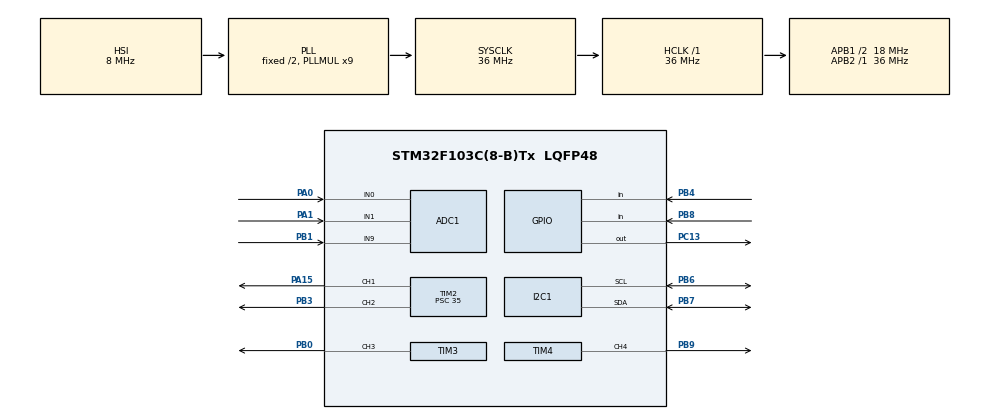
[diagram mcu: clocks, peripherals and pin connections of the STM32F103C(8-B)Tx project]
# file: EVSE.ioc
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ADC1.Channel-0\#ChannelRegularConversion=ADC_CHANNEL_0
ADC1.ContinuousConvMode=DISABLE
ADC1.NbrOfConversionFlag=1
ADC1.Rank-0\#ChannelRegularConversion=1
ADC1.SamplingTime-0\#ChannelRegularConversion=ADC_SAMPLETIME_1CYCLE_5
ADC1.master=1
Mcu.Family=STM32F1
Mcu.Name=STM32F103C(8-B)Tx
Mcu.Package=LQFP48
NVIC.PriorityGroup=NVIC_PRIORITYGROUP_4
PA0-WKUP.Signal=ADCx_IN0
PA1.Signal=ADCx_IN1
PA13.Mode=Serial_Wire
PA13.Signal=SYS_JTMS-SWDIO
PA14.Mode=Serial_Wire
PA14.Signal=SYS_JTCK-SWCLK
PA15.Signal=S_TIM2_CH1_ETR
PB0.Signal=S_TIM3_CH3
PB1.Signal=ADCx_IN9
PB3.Signal=S_TIM2_CH2
PB4.Signal=GPIO_Input
PB6.Mode=I2C
PB6.Signal=I2C1_SCL
PB7.Mode=I2C
PB7.Signal=I2C1_SDA
PB8.GPIO_PuPd=GPIO_PULLUP
PB8.Signal=GPIO_Input
PB9.Signal=S_TIM4_CH4
PC13-TAMPER-RTC.Signal=GPIO_Output
PD0-OSC_IN.Mode=HSE-External-Oscillator
PD0-OSC_IN.Signal=RCC_OSC_IN
PD1-OSC_OUT.Mode=HSE-External-Oscillator
PD1-OSC_OUT.Signal=RCC_OSC_OUT
ProjectManager.HeapSize=0x200
ProjectManager.StackSize=0x400
ProjectManager.TargetToolchain=MDK-ARM V5.32
RCC.ADCPresc=RCC_ADCPCLK2_DIV4
RCC.AHBFreq_Value=36000000
RCC.APB1CLKDivider=RCC_HCLK_DIV2
RCC.APB1Freq_Value=18000000
RCC.APB1TimFreq_Value=36000000
RCC.APB2Freq_Value=36000000
RCC.APB2TimFreq_Value=36000000
RCC.HCLKFreq_Value=36000000
RCC.PLLMUL=RCC_PLL_MUL9
RCC.SYSCLKFreq_VALUE=36000000
RCC.SYSCLKSource=RCC_SYSCLKSOURCE_PLLCLK
RCC.USBFreq_Value=36000000
SH.ADCx_IN0.0=ADC1_IN0,IN0
SH.ADCx_IN1.0=ADC1_IN1,IN1
SH.ADCx_IN9.0=ADC1_IN9,IN9
SH.S_TIM2_CH1_ETR.0=TIM2_CH1,PWM Generation1 CH1
SH.S_TIM2_CH2.0=TIM2_CH2,PWM Generation2 CH2
SH.S_TIM3_CH3.0=TIM3_CH3,PWM Generation3 CH3
SH.S_TIM4_CH4.0=TIM4_CH4,PWM Generation4 CH4
TIM2.AutoReloadPreload=TIM_AUTORELOAD_PRELOAD_ENABLE
TIM2.Channel-PWM\ Generation1\ CH1=TIM_CHANNEL_1
TIM2.Channel-PWM\ Generation2\ CH2=TIM_CHANNEL_2
TIM2.Period=999
TIM2.Prescaler=35
TIM3.AutoReloadPreload=TIM_AUTORELOAD_PRELOAD_ENABLE
TIM3.Channel-PWM\ Generation3\ CH3=TIM_CHANNEL_3
TIM3.Period=999
TIM3.Prescaler=35
TIM4.AutoReloadPreload=TIM_AUTORELOAD_PRELOAD_ENABLE
TIM4.Channel-PWM\ Generation4\ CH4=TIM_CHANNEL_4
TIM4.Period=999
TIM4.Prescaler=35
VP_TIM2_VS_ClockSourceINT.Mode=Internal
VP_TIM4_VS_ClockSourceINT.Mode=Internal
board=custom

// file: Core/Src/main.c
/* USER CODE BEGIN Header */
/**
  ******************************************************************************
  * @file           : main.c
  * @brief          : Main program body
  ******************************************************************************
  * @attention
  *
  * Copyright (c) 2024 STMicroelectronics.
  * All rights reserved.
  *
  * This software is licensed under terms that can be found in the LICENSE file
  * in the root directory of this software component.
  * If no LICENSE file comes with this software, it is provided AS-IS.
  *
  ******************************************************************************
  */
/* USER CODE END Header */
#include "main.h"

/* USER CODE BEGIN Includes */
#include "stdio.h"
#include "i2c-lcd.h"
#include <math.h>
//44#include "i2c-lcd.h"
/* USER CODE END Includes */

/* USER CODE BEGIN PD */
char a[2], b[2];
/* USER CODE END PD */

ADC_HandleTypeDef hadc1;

I2C_HandleTypeDef hi2c1;

TIM_HandleTypeDef htim2;
TIM_HandleTypeDef htim3;
TIM_HandleTypeDef htim4;

/* USER CODE BEGIN PV */
uint32_t ADC_0, ADC_1, tong_0, tong_1, Ampe1, y;
uint8_t dem = 0, i, c, Ampe_max , state = 0;
float Ampe, ADC_9, tong_2, Duty_Cycle, Voltage, Ampe2, Ampe3, giatria9, sum=0, caonhat, caonhat1=0;
uint8_t value = 0; // Bi?n luu gi� tr? 0 ho?c 1
uint8_t truoc = 0; // Tr?ng th�i n�t tru?c d� (1 v� n�t pull-up)
uint8_t hientai; // Tr?ng th�i n�t hi?n t?i
/* USER CODE END PV */

void SystemClock_Config(void);
static void MX_GPIO_Init(void);
static void MX_ADC1_Init(void);
static void MX_TIM2_Init(void);
static void MX_TIM3_Init(void);
static void MX_TIM4_Init(void);
static void MX_I2C1_Init(void);

/* USER CODE BEGIN 0 */
void ADC_Select_CH0(){
  ADC_ChannelConfTypeDef sConfig = {0};
	sConfig.Channel = ADC_CHANNEL_0;
  sConfig.Rank = ADC_REGULAR_RANK_1;
  sConfig.SamplingTime = ADC_SAMPLETIME_1CYCLE_5;
  if (HAL_ADC_ConfigChannel(&hadc1, &sConfig) != HAL_OK)Error_Handler();
}
void ADC_Select_CH1(){
  ADC_ChannelConfTypeDef sConfig = {0};
	sConfig.Channel = ADC_CHANNEL_1;
  sConfig.Rank = ADC_REGULAR_RANK_1;
  sConfig.SamplingTime = ADC_SAMPLETIME_1CYCLE_5;
  if (HAL_ADC_ConfigChannel(&hadc1, &sConfig) != HAL_OK)Error_Handler();
}
void ADC_Select_CH9(){
  ADC_ChannelConfTypeDef sConfig = {0};
	sConfig.Channel = ADC_CHANNEL_9;
  sConfig.Rank = ADC_REGULAR_RANK_1;
  sConfig.SamplingTime = ADC_SAMPLETIME_1CYCLE_5;
  if (HAL_ADC_ConfigChannel(&hadc1, &sConfig) != HAL_OK)Error_Handler();
}
/* USER CODE END 0 */

int main(void)
{

  /* MCU Configuration--------------------------------------------------------*/

  /* Reset of all peripherals, Initializes the Flash interface and the Systick. */
  HAL_Init();

  /* Configure the system clock */
  SystemClock_Config();

  /* Initialize all configured peripherals */
  MX_GPIO_Init();
  MX_ADC1_Init();
  MX_TIM2_Init();
  MX_TIM3_Init();
  MX_TIM4_Init();
  MX_I2C1_Init();
  /* USER CODE BEGIN 2 */
  HAL_TIM_PWM_Start(&htim3, TIM_CHANNEL_3); //relay xung
  HAL_TIM_PWM_Start(&htim2, TIM_CHANNEL_1); //relay che do sac
  HAL_TIM_PWM_Start(&htim2, TIM_CHANNEL_2);	//relay sac
	HAL_TIM_PWM_Start(&htim4, TIM_CHANNEL_4); //dieu chinh do rong xung-Duty cycle
	lcd_init();
  /* USER CODE END 2 */

  /* Infinite loop */
  /* USER CODE BEGIN WHILE */
  while (1)
  {
		truoc= hientai;
		hientai= HAL_GPIO_ReadPin (GPIOB, GPIO_PIN_4);
		if (truoc==1 && hientai==0)
		{
			value= 1 - value;
		}
			if (value == 1)
			{ __HAL_TIM_SET_COMPARE(&htim2,TIM_CHANNEL_1,999);
}
			else if (value == 0)
			{ __HAL_TIM_SET_COMPARE(&htim2,TIM_CHANNEL_1,0);
}
			//------------------------------------------------------LCD----------------------------------------------------------------------------------------------
			     lcd_clear();
					  lcd_put_cur( 0, 0);
						if (value == 1)
						{
						lcd_send_string("AC CHARGING");
						}
						else if(value == 0)
						{
						lcd_send_string("DC CHARGING");
            }

    if((GPIOB->IDR & GPIO_PIN_8)==0){dem++; if(dem>1)dem=0;}
		if(ADC_1>1000 && ADC_1<4050)
		{
      if(ADC_1>3210 && ADC_1<4050)Ampe_max = 20;
			else if(ADC_1>1920 && ADC_1<3210)Ampe_max = 32;
			else if(ADC_1>1180 && ADC_1<1920)Ampe_max = 63;
			else Ampe_max = 0;
			if(dem == 0)
			{
				if(Voltage>1 && Voltage<7 && state==0)
				{
		  	  __HAL_TIM_SET_COMPARE(&htim3,TIM_CHANNEL_3,999);
		  	  __HAL_TIM_SET_COMPARE(&htim2,TIM_CHANNEL_2,999);
		  		HAL_GPIO_WritePin(GPIOC,GPIO_PIN_13,GPIO_PIN_RESET);

					//LCD
						lcd_clear();
						lcd_put_cur( 1, 0);
						lcd_send_string("CURRENT:");
						lcd_put_cur(1, 13);
						lcd_send_string("A");
						sprintf(a,"%d",Ampe1);
						lcd_put_cur(1,10);
						lcd_send_string(a);

		  		if(Ampe>0 && Ampe<6)
					{
						c=0;
						state=0;
		  		  __HAL_TIM_SET_COMPARE(&htim4,TIM_CHANNEL_4, Duty_Cycle=89);//9%
			  	}else if(Ampe>=6 && Ampe<=51){
						c=0;
						state=0;
			  	  __HAL_TIM_SET_COMPARE(&htim4,TIM_CHANNEL_4, Duty_Cycle=(Ampe/0.6)*10-1);
			  	}else if(Ampe>51 && Ampe<=80){
						c=0;
						state=0;
				    __HAL_TIM_SET_COMPARE(&htim4,TIM_CHANNEL_4, Duty_Cycle=(Ampe/2.5+64)*10-1);
		      }else if(Ampe>80 || dem==1){
						state=1;
						dem=0;
		        __HAL_TIM_SET_COMPARE(&htim4,TIM_CHANNEL_4,  Duty_Cycle=979);//98%
			 	  	__HAL_TIM_SET_COMPARE(&htim2,TIM_CHANNEL_2,0);
						HAL_GPIO_WritePin(GPIOC,GPIO_PIN_13,GPIO_PIN_SET);
						HAL_Delay(500);
					}else if(Ampe==0){
					  c++;
						HAL_Delay(100);
						if(c>30)
						{
						  c=0;
							__HAL_TIM_SET_COMPARE(&htim4,TIM_CHANNEL_4, Duty_Cycle = 9);//1%
				   		__HAL_TIM_SET_COMPARE(&htim2,TIM_CHANNEL_2,0);
				   		HAL_GPIO_WritePin(GPIOC,GPIO_PIN_13,GPIO_PIN_SET);
						}
					}
					if(Ampe>Ampe_max+2)
					{
						c=0;
						state=1;
						__HAL_TIM_SET_COMPARE(&htim2,TIM_CHANNEL_2,0);
						HAL_GPIO_WritePin(GPIOC,GPIO_PIN_13,GPIO_PIN_SET);
					}
		  	}else if(state==1 || (Voltage>7 && Voltage<10 && state==0)){
				  state=0;

					//LCD
					lcd_clear();
					lcd_put_cur(0, 0);
					lcd_send_string("CONNECTED");

					__HAL_TIM_SET_COMPARE(&htim3,TIM_CHANNEL_3,999);
		  	  __HAL_TIM_SET_COMPARE(&htim2,TIM_CHANNEL_2,0);
					__HAL_TIM_SET_COMPARE(&htim4,TIM_CHANNEL_4, Duty_Cycle = 49);//5%
		  		HAL_GPIO_WritePin(GPIOC,GPIO_PIN_13,GPIO_PIN_SET);
					c++;
					HAL_Delay(100);
					if(c>30)
					{
					  c=0;
						__HAL_TIM_SET_COMPARE(&htim4,TIM_CHANNEL_4, Duty_Cycle = 9);//1%
					}
				}

		  }else if(dem==1){
				dem=0;
			  state=1;

				//LCD
					lcd_clear();
					lcd_put_cur(0, 0);
					lcd_send_string("CONNECTED");

				__HAL_TIM_SET_COMPARE(&htim4,TIM_CHANNEL_4, Duty_Cycle = 979);//98%
				__HAL_TIM_SET_COMPARE(&htim2,TIM_CHANNEL_2,0);
				HAL_GPIO_WritePin(GPIOC,GPIO_PIN_13,GPIO_PIN_SET);
				HAL_Delay(500);
			}
    }else{
			Ampe_max=0;
			__HAL_TIM_SET_COMPARE(&htim4,TIM_CHANNEL_4, Duty_Cycle = 979);
      __HAL_TIM_SET_COMPARE(&htim2,TIM_CHANNEL_2,0);
      __HAL_TIM_SET_COMPARE(&htim3,TIM_CHANNEL_3,0);
      HAL_GPIO_WritePin(GPIOC,GPIO_PIN_13,GPIO_PIN_SET);
			if(dem==1)dem=0;
	  }
    HAL_Delay(100);
		//--------------------------------------------------lay gia tri ADC---------------------------------------------------------------------------------
		for(i=0;i<10;i++)
		{
			ADC_Select_CH0();
			HAL_ADC_Start(&hadc1);
			HAL_ADC_PollForConversion(&hadc1,100);
			tong_0+=HAL_ADC_GetValue(&hadc1);
			HAL_ADC_Stop(&hadc1);

			ADC_Select_CH1();
			HAL_ADC_Start(&hadc1);
			HAL_ADC_PollForConversion(&hadc1,100);
			tong_1+=HAL_ADC_GetValue(&hadc1);
			HAL_ADC_Stop(&hadc1);

			//ADC_Select_CH9();
			//HAL_ADC_Start(&hadc1);
			//HAL_ADC_PollForConversion(&hadc1,100);
			//tong_2+=HAL_ADC_GetValue(&hadc1);
			//HAL_ADC_Stop(&hadc1);
		}
    ADC_0=(tong_0/i);
		ADC_1=(tong_1/i);
		//ADC_9=(tong_2/i);
		tong_0=0;
		tong_1=0;
		//tong_2=0;

		//----------------------------------------dien ap xac nhan cac trang thai sac--------------------------------------------------------------------------------------------
		Voltage=(ADC_0*3.4*1000*(800+330))/((Duty_Cycle+1)*4095*330);//800 va 330 l� 2 dien tro ph�n �p sau Opamp;

		//--------------------------------do Ampe khi su dung bien tro 5kohm lam dong dien gia---------------------------------------------------------------------------------
		//Ampe=ADC_9*100/4095; //0-100 Ampe
		//----------------------------------do Ampe khi su dung WCS1700 do dong dien sac-----------------------------------------------------------------------------------
		{
			ADC_Select_CH9();
			HAL_ADC_Start(&hadc1);
			HAL_ADC_PollForConversion(&hadc1,100);
			caonhat = HAL_ADC_GetValue(&hadc1);
			if (caonhat > caonhat1)
			{
				caonhat1 = caonhat;
			}
			sum += caonhat1;
			HAL_ADC_Stop(&hadc1);
			HAL_Delay(1);
		}
		tong_2 = sum/y;
		Ampe2 = ((tong_2*3.3/4095)-2.42967033);
		Ampe  = sqrtf((Ampe2/0.066)*(Ampe2/0.066));
		sum = 0;
		caonhat = 0;
		caonhat1 = 0;

		//----------------------------------------------------------------------------------------------------------------------------------------------------
    /* USER CODE END WHILE */

  }
}

void SystemClock_Config(void)
{
  RCC_OscInitTypeDef RCC_OscInitStruct = {0};
  RCC_ClkInitTypeDef RCC_ClkInitStruct = {0};
  RCC_PeriphCLKInitTypeDef PeriphClkInit = {0};

  /** Initializes the RCC Oscillators according to the specified parameters
  * in the RCC_OscInitTypeDef structure.
  */
  RCC_OscInitStruct.OscillatorType = RCC_OSCILLATORTYPE_HSI;
  RCC_OscInitStruct.HSIState = RCC_HSI_ON;
  RCC_OscInitStruct.HSICalibrationValue = RCC_HSICALIBRATION_DEFAULT;
  RCC_OscInitStruct.PLL.PLLState = RCC_PLL_ON;
  RCC_OscInitStruct.PLL.PLLSource = RCC_PLLSOURCE_HSI_DIV2;
  RCC_OscInitStruct.PLL.PLLMUL = RCC_PLL_MUL9;
  if (HAL_RCC_OscConfig(&RCC_OscInitStruct) != HAL_OK)
  {
    Error_Handler();
  }

  /** Initializes the CPU, AHB and APB buses clocks
  */
  RCC_ClkInitStruct.ClockType = RCC_CLOCKTYPE_HCLK|RCC_CLOCKTYPE_SYSCLK
                              |RCC_CLOCKTYPE_PCLK1|RCC_CLOCKTYPE_PCLK2;
  RCC_ClkInitStruct.SYSCLKSource = RCC_SYSCLKSOURCE_PLLCLK;
  RCC_ClkInitStruct.AHBCLKDivider = RCC_SYSCLK_DIV1;
  RCC_ClkInitStruct.APB1CLKDivider = RCC_HCLK_DIV2;
  RCC_ClkInitStruct.APB2CLKDivider = RCC_HCLK_DIV1;

  if (HAL_RCC_ClockConfig(&RCC_ClkInitStruct, FLASH_LATENCY_1) != HAL_OK)
  {
    Error_Handler();
  }
  PeriphClkInit.PeriphClockSelection = RCC_PERIPHCLK_ADC;
  PeriphClkInit.AdcClockSelection = RCC_ADCPCLK2_DIV4;
  if (HAL_RCCEx_PeriphCLKConfig(&PeriphClkInit) != HAL_OK)
  {
    Error_Handler();
  }
}

static void MX_ADC1_Init(void)
{

  ADC_ChannelConfTypeDef sConfig = {0};

  /** Common config
  */
  hadc1.Instance = ADC1;
  hadc1.Init.ScanConvMode = ADC_SCAN_DISABLE;
  hadc1.Init.ContinuousConvMode = DISABLE;
  hadc1.Init.DiscontinuousConvMode = DISABLE;
  hadc1.Init.ExternalTrigConv = ADC_SOFTWARE_START;
  hadc1.Init.DataAlign = ADC_DATAALIGN_RIGHT;
  hadc1.Init.NbrOfConversion = 1;
  if (HAL_ADC_Init(&hadc1) != HAL_OK)
  {
    Error_Handler();
  }

  /** Configure Regular Channel
  */
  sConfig.Channel = ADC_CHANNEL_0;
  sConfig.Rank = ADC_REGULAR_RANK_1;
  sConfig.SamplingTime = ADC_SAMPLETIME_1CYCLE_5;
  if (HAL_ADC_ConfigChannel(&hadc1, &sConfig) != HAL_OK)
  {
    Error_Handler();
  }

}

static void MX_I2C1_Init(void)
{

  hi2c1.Instance = I2C1;
  hi2c1.Init.ClockSpeed = 100000;
  hi2c1.Init.DutyCycle = I2C_DUTYCYCLE_2;
  hi2c1.Init.OwnAddress1 = 0;
  hi2c1.Init.AddressingMode = I2C_ADDRESSINGMODE_7BIT;
  hi2c1.Init.DualAddressMode = I2C_DUALADDRESS_DISABLE;
  hi2c1.Init.OwnAddress2 = 0;
  hi2c1.Init.GeneralCallMode = I2C_GENERALCALL_DISABLE;
  hi2c1.Init.NoStretchMode = I2C_NOSTRETCH_DISABLE;
  if (HAL_I2C_Init(&hi2c1) != HAL_OK)
  {
    Error_Handler();
  }

}

static void MX_TIM2_Init(void)
{

  TIM_ClockConfigTypeDef sClockSourceConfig = {0};
  TIM_MasterConfigTypeDef sMasterConfig = {0};
  TIM_OC_InitTypeDef sConfigOC = {0};

  htim2.Instance = TIM2;
  htim2.Init.Prescaler = 35;
  htim2.Init.CounterMode = TIM_COUNTERMODE_UP;
  htim2.Init.Period = 999;
  htim2.Init.ClockDivision = TIM_CLOCKDIVISION_DIV1;
  htim2.Init.AutoReloadPreload = TIM_AUTORELOAD_PRELOAD_ENABLE;
  if (HAL_TIM_Base_Init(&htim2) != HAL_OK)
  {
    Error_Handler();
  }
  sClockSourceConfig.ClockSource = TIM_CLOCKSOURCE_INTERNAL;
  if (HAL_TIM_ConfigClockSource(&htim2, &sClockSourceConfig) != HAL_OK)
  {
    Error_Handler();
  }
  if (HAL_TIM_PWM_Init(&htim2) != HAL_OK)
  {
    Error_Handler();
  }
  sMasterConfig.MasterOutputTrigger = TIM_TRGO_RESET;
  sMasterConfig.MasterSlaveMode = TIM_MASTERSLAVEMODE_DISABLE;
  if (HAL_TIMEx_MasterConfigSynchronization(&htim2, &sMasterConfig) != HAL_OK)
  {
    Error_Handler();
  }
  sConfigOC.OCMode = TIM_OCMODE_PWM1;
  sConfigOC.Pulse = 0;
  sConfigOC.OCPolarity = TIM_OCPOLARITY_HIGH;
  sConfigOC.OCFastMode = TIM_OCFAST_DISABLE;
  if (HAL_TIM_PWM_ConfigChannel(&htim2, &sConfigOC, TIM_CHANNEL_1) != HAL_OK)
  {
    Error_Handler();
  }
  if (HAL_TIM_PWM_ConfigChannel(&htim2, &sConfigOC, TIM_CHANNEL_2) != HAL_OK)
  {
    Error_Handler();
  }
  HAL_TIM_MspPostInit(&htim2);

}

static void MX_TIM3_Init(void)
{

  /* USER CODE BEGIN TIM3_Init 0 */
  TIM_ClockConfigTypeDef sClockSourceConfig = {0};
  /* USER CODE END TIM3_Init 0 */

  TIM_MasterConfigTypeDef sMasterConfig = {0};
  TIM_OC_InitTypeDef sConfigOC = {0};

  htim3.Instance = TIM3;
  htim3.Init.Prescaler = 35;
  htim3.Init.CounterMode = TIM_COUNTERMODE_UP;
  htim3.Init.Period = 999;
  htim3.Init.ClockDivision = TIM_CLOCKDIVISION_DIV1;
  htim3.Init.AutoReloadPreload = TIM_AUTORELOAD_PRELOAD_ENABLE;
  if (HAL_TIM_PWM_Init(&htim3) != HAL_OK)
  {
    Error_Handler();
  }
  sMasterConfig.MasterOutputTrigger = TIM_TRGO_RESET;
  sMasterConfig.MasterSlaveMode = TIM_MASTERSLAVEMODE_DISABLE;
  if (HAL_TIMEx_MasterConfigSynchronization(&htim3, &sMasterConfig) != HAL_OK)
  {
    Error_Handler();
  }
  sConfigOC.OCMode = TIM_OCMODE_PWM1;
  sConfigOC.Pulse = 0;
  sConfigOC.OCPolarity = TIM_OCPOLARITY_HIGH;
  sConfigOC.OCFastMode = TIM_OCFAST_DISABLE;
  if (HAL_TIM_PWM_ConfigChannel(&htim3, &sConfigOC, TIM_CHANNEL_3) != HAL_OK)
  {
    Error_Handler();
  }
  HAL_TIM_MspPostInit(&htim3);

}

static void MX_TIM4_Init(void)
{

  TIM_ClockConfigTypeDef sClockSourceConfig = {0};
  TIM_MasterConfigTypeDef sMasterConfig = {0};
  TIM_OC_InitTypeDef sConfigOC = {0};

  htim4.Instance = TIM4;
  htim4.Init.Prescaler = 35;
  htim4.Init.CounterMode = TIM_COUNTERMODE_UP;
  htim4.Init.Period = 999;
  htim4.Init.ClockDivision = TIM_CLOCKDIVISION_DIV1;
  htim4.Init.AutoReloadPreload = TIM_AUTORELOAD_PRELOAD_ENABLE;
  if (HAL_TIM_Base_Init(&htim4) != HAL_OK)
  {
    Error_Handler();
  }
  sClockSourceConfig.ClockSource = TIM_CLOCKSOURCE_INTERNAL;
  if (HAL_TIM_ConfigClockSource(&htim4, &sClockSourceConfig) != HAL_OK)
  {
    Error_Handler();
  }
  if (HAL_TIM_PWM_Init(&htim4) != HAL_OK)
  {
    Error_Handler();
  }
  sMasterConfig.MasterOutputTrigger = TIM_TRGO_RESET;
  sMasterConfig.MasterSlaveMode = TIM_MASTERSLAVEMODE_DISABLE;
  if (HAL_TIMEx_MasterConfigSynchronization(&htim4, &sMasterConfig) != HAL_OK)
  {
    Error_Handler();
  }
  sConfigOC.OCMode = TIM_OCMODE_PWM1;
  sConfigOC.Pulse = 0;
  sConfigOC.OCPolarity = TIM_OCPOLARITY_HIGH;
  sConfigOC.OCFastMode = TIM_OCFAST_DISABLE;
  if (HAL_TIM_PWM_ConfigChannel(&htim4, &sConfigOC, TIM_CHANNEL_4) != HAL_OK)
  {
    Error_Handler();
  }
  HAL_TIM_MspPostInit(&htim4);

}

static void MX_GPIO_Init(void)
{
  GPIO_InitTypeDef GPIO_InitStruct = {0};

  /* GPIO Ports Clock Enable */
  __HAL_RCC_GPIOC_CLK_ENABLE();
  __HAL_RCC_GPIOD_CLK_ENABLE();
  __HAL_RCC_GPIOA_CLK_ENABLE();
  __HAL_RCC_GPIOB_CLK_ENABLE();

  /*Configure GPIO pin Output Level */
  HAL_GPIO_WritePin(GPIOC, GPIO_PIN_13, GPIO_PIN_RESET);

  /*Configure GPIO pin : PC13 */
  GPIO_InitStruct.Pin = GPIO_PIN_13;
  GPIO_InitStruct.Mode = GPIO_MODE_OUTPUT_PP;
  GPIO_InitStruct.Pull = GPIO_NOPULL;
  GPIO_InitStruct.Speed = GPIO_SPEED_FREQ_LOW;
  HAL_GPIO_Init(GPIOC, &GPIO_InitStruct);

  /*Configure GPIO pin : PB4 */
  GPIO_InitStruct.Pin = GPIO_PIN_4;
  GPIO_InitStruct.Mode = GPIO_MODE_INPUT;
  GPIO_InitStruct.Pull = GPIO_NOPULL;
  HAL_GPIO_Init(GPIOB, &GPIO_InitStruct);

  /*Configure GPIO pin : PB8 */
  GPIO_InitStruct.Pin = GPIO_PIN_8;
  GPIO_InitStruct.Mode = GPIO_MODE_INPUT;
  GPIO_InitStruct.Pull = GPIO_PULLUP;
  HAL_GPIO_Init(GPIOB, &GPIO_InitStruct);

}

void Error_Handler(void)
{
  __disable_irq();
  while (1)
  {
  }
}
